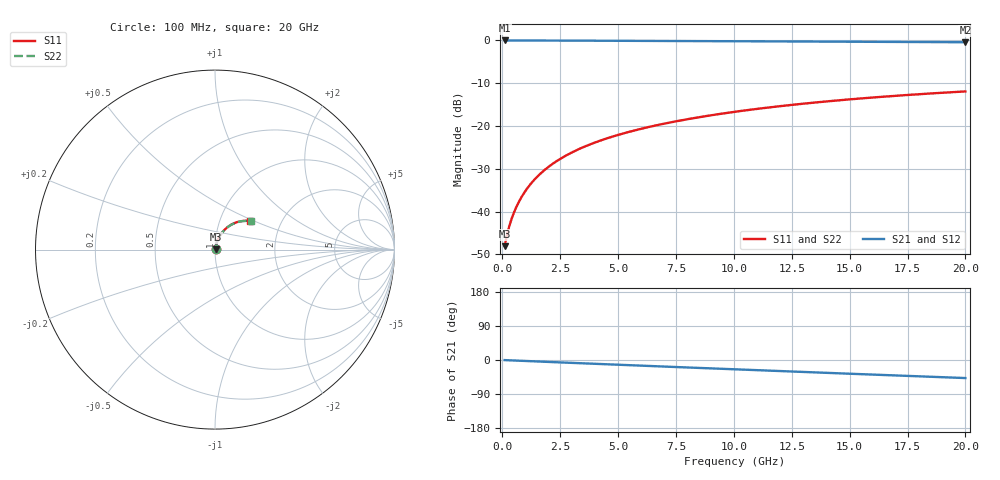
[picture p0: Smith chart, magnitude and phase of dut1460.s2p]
! Touchstone file exported from HFSS 2026.1.0
!  File:  C:/ffzhzh/LocalFiles/Ansys_Project_Files/temp_train_BSMRDL_1460_1783180891_51560.aedt
!  Generated:  12:02:50 AM Jul  5, 2026
!  Design:  BSMRDL
!  Project:  temp_train_BSMRDL_1460_1783180891_51560
! Variables:
!  h_bsmrdl = 5.39um
!  h_ox = 20um
!  h_rdl = 5um
!  h_sub = 80um
!  h_tmrdl = 5um
!  h_tsv = 80um
!  h_via = 3um
!  l_bsmrdl = 821.08um
!  l_sub = 1221.08um
!  l_tmrdl = 200um
!  m_sub = 200um
!  pitch = 28.35um
!  r_tsv = 6um
!  s_tmrdl = 10um
!  w_bsmrdl = 16.67um
!  w_sub = 500um
!  w_tmrdl = 12um
!  x_tsv_center1 = 206um
!  x_tsv_center2 = 1043.75um
!  x_tsv_center3 = 1255.75um
!  x_tsv_center4 = 2093.5um
!  x_tsv_center5 = 2305.5um
!  x_tsv_center6 = 3143.25um
# GHz S MA R 50.000000
! Terminal data exported
! Port[1] = BSM_RDL1_1_T1
! Port[2] = BSM_RDL1_1_T2
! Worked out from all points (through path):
!   200 points, 100 MHz to 20 GHz, reference 50 ohm
!   highest |S21| = -0.03 dB at 100 MHz (marker M1); lowest = -0.4 dB at 20 GHz (marker M2)
!   group delay of S21, straight-line fit = 6.6 ps
!   lowest |S11| = -48.1 dB at 100 MHz (marker M3), VSWR 1.01, Z = 50.3 + j0.2 ohm
!   |S11| at or under -10 dB: start of sweep to end of sweep
!   |S22| runs from -48.1 to -11.9 dB; largest |S21 - S12| = 1.4e-14
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0.1  0.003941 30.3  0.9966 -0.3  0.9966 -0.3  0.003941 30.3
! Gamma 0 0 0 0
! Port Impedance 50 0 50 0
0.2  0.005282 45.8  0.9963 -0.5  0.9963 -0.5  0.005283 45.8
0.3  0.006727 54.1  0.9961 -0.8  0.9961 -0.8  0.006727 54.1
0.4  0.008189 59.5  0.996 -1.0  0.996 -1.0  0.008189 59.5
0.5  0.009675 63.3  0.9958 -1.3  0.9958 -1.3  0.009676 63.3
0.6  0.01119 66.2  0.9957 -1.6  0.9957 -1.6  0.01119 66.1
0.8  0.01428 70.0  0.9955 -2.1  0.9955 -2.1  0.01428 70.0
1  0.01743 72.3  0.9953 -2.6  0.9953 -2.6  0.01743 72.3
1.2  0.02061 73.7  0.9951 -3.1  0.9951 -3.1  0.02061 73.7
1.4  0.0238 74.6  0.9949 -3.6  0.9949 -3.6  0.0238 74.6
1.7  0.02858 75.3  0.9945 -4.3  0.9945 -4.3  0.02859 75.2
2.2  0.0365 75.4  0.9937 -5.6  0.9937 -5.6  0.0365 75.4
2.8  0.04586 74.9  0.9926 -7.1  0.9926 -7.1  0.04586 74.8
3.5  0.05653 73.8  0.9911 -8.8  0.9911 -8.8  0.05653 73.7
4.2  0.06694 72.5  0.9896 -10.6  0.9896 -10.6  0.06694 72.4
5  0.07854 70.9  0.9878 -12.5  0.9878 -12.5  0.07855 70.8
6.8  0.1037 67.1  0.9837 -16.9  0.9837 -16.9  0.1037 67.1
8.3  0.1238 64.0  0.9802 -20.5  0.9802 -20.5  0.1238 63.9
10.1  0.147 60.2  0.9758 -24.7  0.9758 -24.7  0.147 60.0
13.4  0.1866 53.0  0.9674 -32.5  0.9674 -32.5  0.1866 52.9
16.7  0.2221 45.9  0.9587 -40.1  0.9587 -40.1  0.2221 45.7
20  0.253 38.8  0.9501 -47.6  0.9501 -47.6  0.2531 38.5
